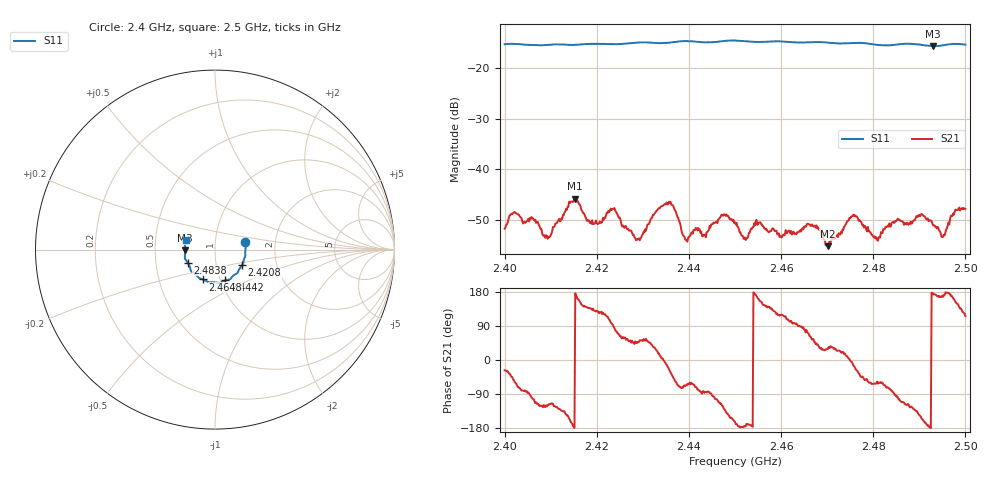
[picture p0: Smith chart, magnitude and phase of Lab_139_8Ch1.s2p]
# Hz S RI R 50
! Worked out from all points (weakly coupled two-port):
!   601 points, 2.4 GHz to 2.5 GHz, reference 50 ohm
!   highest |S21| = -45.82 dB at 2.4153 GHz (marker M1); lowest = -55.2 dB at 2.4702 GHz (marker M2)
!   lowest |S11| = -15.6 dB at 2.493 GHz (marker M3), VSWR 1.40, Z = 35.8 - j0.225 ohm
!   |S11| at or under -10 dB: start of sweep to end of sweep
!   S12 and S22 are empty: the file has one direction only
!   S11 on the Smith chart (normalised r, x): 2.4 GHz: 1.40, +0.12; 2.4208 GHz: 1.33, -0.24; 2.4442 GHz: 1.05, -0.37; 2.4648 GHz: 0.83, -0.28; 2.4838 GHz: 0.73, -0.11; 2.5 GHz: 0.72, +0.08
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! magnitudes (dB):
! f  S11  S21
! 2.4 GHz  -15.3  -51.8
! 2.4023 GHz  -15.2  -48.6
! 2.4093 GHz  -15.4  -53.7
! 2.4153 GHz  -15.4  -45.8
! 2.4167 GHz  -15.3  -48.1
! 2.4208 GHz  -15.2  -50.6
! 2.4235 GHz  -15.2  -47.8
! 2.429 GHz  -14.9  -53.9
! 2.4333 GHz  -15.0  -47.9
! 2.4362 GHz  -14.9  -47.0
! 2.4393 GHz  -14.6  -54.0
! 2.4442 GHz  -14.9  -52.2
! 2.45 GHz  -14.5  -50.5
! 2.4648 GHz  -14.9  -51.9
! 2.4667 GHz  -14.8  -50.9
! 2.4702 GHz  -14.9  -55.2
! 2.4757 GHz  -15.0  -49.0
! 2.4833 GHz  -15.5  -51.3
! 2.4838 GHz  -15.4  -51.3
! 2.493 GHz  -15.6  -51.1
! 2.4952 GHz  -15.5  -53.4
! 2.5 GHz  -15.3  -47.8
